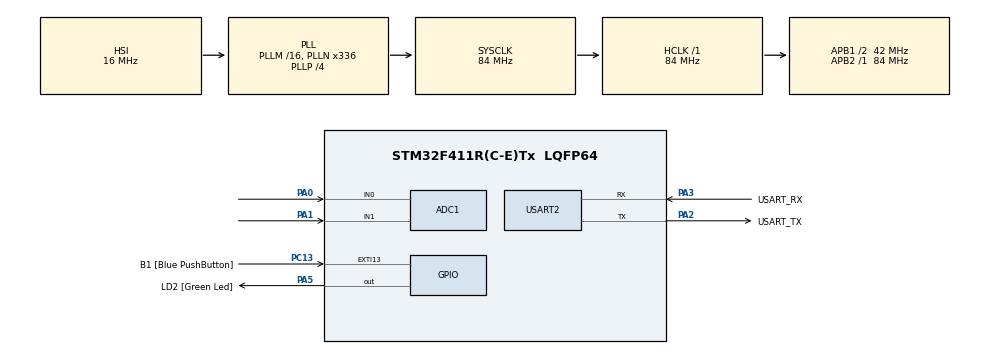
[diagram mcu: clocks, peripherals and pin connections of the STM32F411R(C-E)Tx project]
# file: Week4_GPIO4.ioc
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ADC1.Channel-0\#ChannelRegularConversion=ADC_CHANNEL_0
ADC1.Channel-1\#ChannelRegularConversion=ADC_CHANNEL_1
ADC1.Channel-2\#ChannelRegularConversion=ADC_CHANNEL_TEMPSENSOR
ADC1.Channel-3\#ChannelRegularConversion=ADC_CHANNEL_VREFINT
ADC1.ContinuousConvMode=ENABLE
ADC1.DMAContinuousRequests=ENABLE
ADC1.NbrOfConversion=4
ADC1.NbrOfConversionFlag=1
ADC1.Rank-0\#ChannelRegularConversion=1
ADC1.Rank-1\#ChannelRegularConversion=2
ADC1.Rank-2\#ChannelRegularConversion=3
ADC1.Rank-3\#ChannelRegularConversion=4
ADC1.SamplingTime-0\#ChannelRegularConversion=ADC_SAMPLETIME_480CYCLES
ADC1.SamplingTime-1\#ChannelRegularConversion=ADC_SAMPLETIME_480CYCLES
ADC1.SamplingTime-2\#ChannelRegularConversion=ADC_SAMPLETIME_3CYCLES
ADC1.SamplingTime-3\#ChannelRegularConversion=ADC_SAMPLETIME_3CYCLES
ADC1.ScanConvMode=ENABLE
ADC1.master=1
Dma.ADC1.0.Direction=DMA_PERIPH_TO_MEMORY
Dma.ADC1.0.FIFOMode=DMA_FIFOMODE_DISABLE
Dma.ADC1.0.Instance=DMA2_Stream0
Dma.ADC1.0.MemDataAlignment=DMA_MDATAALIGN_WORD
Dma.ADC1.0.MemInc=DMA_MINC_ENABLE
Dma.ADC1.0.Mode=DMA_CIRCULAR
Dma.ADC1.0.PeriphDataAlignment=DMA_PDATAALIGN_WORD
Dma.ADC1.0.PeriphInc=DMA_PINC_DISABLE
Dma.ADC1.0.Priority=DMA_PRIORITY_LOW
Dma.Request0=ADC1
Mcu.Family=STM32F4
Mcu.Name=STM32F411R(C-E)Tx
Mcu.Package=LQFP64
NVIC.DMA2_Stream0_IRQn=true\:0\:0\:false\:false\:true\:false\:true
NVIC.EXTI15_10_IRQn=true\:0\:0\:false\:false\:true\:true\:true
NVIC.PriorityGroup=NVIC_PRIORITYGROUP_0
PA0-WKUP.Signal=ADCx_IN0
PA1.Signal=ADCx_IN1
PA13.GPIO_Label=TMS
PA13.Mode=Serial_Wire
PA13.Signal=SYS_JTMS-SWDIO
PA14.GPIO_Label=TCK
PA14.Mode=Serial_Wire
PA14.Signal=SYS_JTCK-SWCLK
PA2.GPIO_Label=USART_TX
PA2.Mode=Asynchronous
PA2.Signal=USART2_TX
PA3.GPIO_Label=USART_RX
PA3.Mode=Asynchronous
PA3.Signal=USART2_RX
PA5.GPIO_Label=LD2 [Green Led]
PA5.Signal=GPIO_Output
PB3.GPIO_Label=SWO
PB3.Signal=SYS_JTDO-SWO
PC13-ANTI_TAMP.GPIO_Label=B1 [Blue PushButton]
PC13-ANTI_TAMP.GPIO_ModeDefaultEXTI=GPIO_MODE_IT_RISING_FALLING
PC13-ANTI_TAMP.GPIO_PuPd=GPIO_PULLUP
PC13-ANTI_TAMP.Signal=GPXTI13
PC14-OSC32_IN.Mode=LSE-External-Oscillator
PC14-OSC32_IN.Signal=RCC_OSC32_IN
PC15-OSC32_OUT.Mode=LSE-External-Oscillator
PC15-OSC32_OUT.Signal=RCC_OSC32_OUT
PH0\ -\ OSC_IN.Mode=HSE-External-Clock-Source
PH0\ -\ OSC_IN.Signal=RCC_OSC_IN
PH1\ -\ OSC_OUT.Mode=HSE-External-Clock-Source
PH1\ -\ OSC_OUT.Signal=RCC_OSC_OUT
ProjectManager.HeapSize=0x200
ProjectManager.StackSize=0x400
ProjectManager.TargetToolchain=STM32CubeIDE
RCC.48MHZClocksFreq_Value=84000000
RCC.AHBFreq_Value=84000000
RCC.APB1CLKDivider=RCC_HCLK_DIV2
RCC.APB1Freq_Value=42000000
RCC.APB1TimFreq_Value=84000000
RCC.APB2Freq_Value=84000000
RCC.APB2TimFreq_Value=84000000
RCC.CortexFreq_Value=84000000
RCC.FLatency-AdvancedSettings=FLASH_LATENCY_2
RCC.HCLKFreq_Value=84000000
RCC.HSE_VALUE=8000000
RCC.HSI_VALUE=16000000
RCC.PLLN=336
RCC.PLLP=RCC_PLLP_DIV4
RCC.SYSCLKFreq_VALUE=84000000
RCC.SYSCLKSource=RCC_SYSCLKSOURCE_PLLCLK
RCC.VCOOutputFreq_Value=336000000
SH.ADCx_IN0.0=ADC1_IN0,IN0
SH.ADCx_IN1.0=ADC1_IN1,IN1
USART2.VirtualMode=VM_ASYNC
VP_ADC1_TempSens_Input.Mode=IN-TempSens
VP_ADC1_Vref_Input.Mode=IN-Vrefint
board=NUCLEO-F411RE

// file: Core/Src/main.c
/* USER CODE BEGIN Header */
/**
  ******************************************************************************
  * @file           : main.c
  * @brief          : Main program body
  ******************************************************************************
  * @attention
  *
  * <h2><center>&copy; Copyright (c) 2021 STMicroelectronics.
  * All rights reserved.</center></h2>
  *
  * This software component is licensed by ST under BSD 3-Clause license,
  * the "License"; You may not use this file except in compliance with the
  * License. You may obtain a copy of the License at:
  *                        opensource.org/licenses/BSD-3-Clause
  *
  ******************************************************************************
  */
/* USER CODE END Header */
#include "main.h"

ADC_HandleTypeDef hadc1;
DMA_HandleTypeDef hdma_adc1;

UART_HandleTypeDef huart2;

/* USER CODE BEGIN PV */
uint32_t ADCData[4]={0};
uint32_t TimeStamp = 0;
uint32_t waitTime = 0;
uint32_t ButtonState[2] ={1,1};
uint32_t C0 = 0;
uint32_t C1 = 0;
uint32_t diffTime = 0;
/* USER CODE END PV */

void SystemClock_Config(void);
static void MX_GPIO_Init(void);
static void MX_DMA_Init(void);
static void MX_USART2_UART_Init(void);
static void MX_ADC1_Init(void);

int main(void)
{

  /* MCU Configuration--------------------------------------------------------*/

  /* Reset of all peripherals, Initializes the Flash interface and the Systick. */
  HAL_Init();

  /* Configure the system clock */
  SystemClock_Config();

  /* Initialize all configured peripherals */
  MX_GPIO_Init();
  MX_DMA_Init();
  MX_USART2_UART_Init();
  MX_ADC1_Init();
  /* USER CODE BEGIN 2 */
  HAL_ADC_Start_DMA(&hadc1,ADCData,4);
  /* USER CODE END 2 */

  /* Infinite loop */
  /* USER CODE BEGIN WHILE */
  while (1)
  {
		if(HAL_GetTick() - TimeStamp >= waitTime )
		{
			HAL_GPIO_WritePin(GPIOA, GPIO_PIN_5, GPIO_PIN_SET);
		}

    /* USER CODE END WHILE */

  }
}

void SystemClock_Config(void)
{
  RCC_OscInitTypeDef RCC_OscInitStruct = {0};
  RCC_ClkInitTypeDef RCC_ClkInitStruct = {0};

  /** Configure the main internal regulator output voltage
  */
  __HAL_RCC_PWR_CLK_ENABLE();
  __HAL_PWR_VOLTAGESCALING_CONFIG(PWR_REGULATOR_VOLTAGE_SCALE1);
  /** Initializes the RCC Oscillators according to the specified parameters
  * in the RCC_OscInitTypeDef structure.
  */
  RCC_OscInitStruct.OscillatorType = RCC_OSCILLATORTYPE_HSI;
  RCC_OscInitStruct.HSIState = RCC_HSI_ON;
  RCC_OscInitStruct.HSICalibrationValue = RCC_HSICALIBRATION_DEFAULT;
  RCC_OscInitStruct.PLL.PLLState = RCC_PLL_ON;
  RCC_OscInitStruct.PLL.PLLSource = RCC_PLLSOURCE_HSI;
  RCC_OscInitStruct.PLL.PLLM = 16;
  RCC_OscInitStruct.PLL.PLLN = 336;
  RCC_OscInitStruct.PLL.PLLP = RCC_PLLP_DIV4;
  RCC_OscInitStruct.PLL.PLLQ = 4;
  if (HAL_RCC_OscConfig(&RCC_OscInitStruct) != HAL_OK)
  {
    Error_Handler();
  }
  /** Initializes the CPU, AHB and APB buses clocks
  */
  RCC_ClkInitStruct.ClockType = RCC_CLOCKTYPE_HCLK|RCC_CLOCKTYPE_SYSCLK
                              |RCC_CLOCKTYPE_PCLK1|RCC_CLOCKTYPE_PCLK2;
  RCC_ClkInitStruct.SYSCLKSource = RCC_SYSCLKSOURCE_PLLCLK;
  RCC_ClkInitStruct.AHBCLKDivider = RCC_SYSCLK_DIV1;
  RCC_ClkInitStruct.APB1CLKDivider = RCC_HCLK_DIV2;
  RCC_ClkInitStruct.APB2CLKDivider = RCC_HCLK_DIV1;

  if (HAL_RCC_ClockConfig(&RCC_ClkInitStruct, FLASH_LATENCY_2) != HAL_OK)
  {
    Error_Handler();
  }
}

static void MX_ADC1_Init(void)
{

  ADC_ChannelConfTypeDef sConfig = {0};

  /** Configure the global features of the ADC (Clock, Resolution, Data Alignment and number of conversion)
  */
  hadc1.Instance = ADC1;
  hadc1.Init.ClockPrescaler = ADC_CLOCK_SYNC_PCLK_DIV4;
  hadc1.Init.Resolution = ADC_RESOLUTION_12B;
  hadc1.Init.ScanConvMode = ENABLE;
  hadc1.Init.ContinuousConvMode = ENABLE;
  hadc1.Init.DiscontinuousConvMode = DISABLE;
  hadc1.Init.ExternalTrigConvEdge = ADC_EXTERNALTRIGCONVEDGE_NONE;
  hadc1.Init.ExternalTrigConv = ADC_SOFTWARE_START;
  hadc1.Init.DataAlign = ADC_DATAALIGN_RIGHT;
  hadc1.Init.NbrOfConversion = 4;
  hadc1.Init.DMAContinuousRequests = ENABLE;
  hadc1.Init.EOCSelection = ADC_EOC_SINGLE_CONV;
  if (HAL_ADC_Init(&hadc1) != HAL_OK)
  {
    Error_Handler();
  }
  /** Configure for the selected ADC regular channel its corresponding rank in the sequencer and its sample time.
  */
  sConfig.Channel = ADC_CHANNEL_0;
  sConfig.Rank = 1;
  sConfig.SamplingTime = ADC_SAMPLETIME_480CYCLES;
  if (HAL_ADC_ConfigChannel(&hadc1, &sConfig) != HAL_OK)
  {
    Error_Handler();
  }
  /** Configure for the selected ADC regular channel its corresponding rank in the sequencer and its sample time.
  */
  sConfig.Channel = ADC_CHANNEL_1;
  sConfig.Rank = 2;
  if (HAL_ADC_ConfigChannel(&hadc1, &sConfig) != HAL_OK)
  {
    Error_Handler();
  }
  /** Configure for the selected ADC regular channel its corresponding rank in the sequencer and its sample time.
  */
  sConfig.Channel = ADC_CHANNEL_TEMPSENSOR;
  sConfig.Rank = 3;
  sConfig.SamplingTime = ADC_SAMPLETIME_3CYCLES;
  if (HAL_ADC_ConfigChannel(&hadc1, &sConfig) != HAL_OK)
  {
    Error_Handler();
  }
  /** Configure for the selected ADC regular channel its corresponding rank in the sequencer and its sample time.
  */
  sConfig.Channel = ADC_CHANNEL_VREFINT;
  sConfig.Rank = 4;
  if (HAL_ADC_ConfigChannel(&hadc1, &sConfig) != HAL_OK)
  {
    Error_Handler();
  }

}

static void MX_USART2_UART_Init(void)
{

  huart2.Instance = USART2;
  huart2.Init.BaudRate = 115200;
  huart2.Init.WordLength = UART_WORDLENGTH_8B;
  huart2.Init.StopBits = UART_STOPBITS_1;
  huart2.Init.Parity = UART_PARITY_NONE;
  huart2.Init.Mode = UART_MODE_TX_RX;
  huart2.Init.HwFlowCtl = UART_HWCONTROL_NONE;
  huart2.Init.OverSampling = UART_OVERSAMPLING_16;
  if (HAL_UART_Init(&huart2) != HAL_OK)
  {
    Error_Handler();
  }

}

static void MX_DMA_Init(void)
{

  /* DMA controller clock enable */
  __HAL_RCC_DMA2_CLK_ENABLE();

  /* DMA interrupt init */
  /* DMA2_Stream0_IRQn interrupt configuration */
  HAL_NVIC_SetPriority(DMA2_Stream0_IRQn, 0, 0);
  HAL_NVIC_EnableIRQ(DMA2_Stream0_IRQn);

}

static void MX_GPIO_Init(void)
{
  GPIO_InitTypeDef GPIO_InitStruct = {0};

  /* GPIO Ports Clock Enable */
  __HAL_RCC_GPIOC_CLK_ENABLE();
  __HAL_RCC_GPIOH_CLK_ENABLE();
  __HAL_RCC_GPIOA_CLK_ENABLE();
  __HAL_RCC_GPIOB_CLK_ENABLE();

  /*Configure GPIO pin Output Level */
  HAL_GPIO_WritePin(LD2_GPIO_Port, LD2_Pin, GPIO_PIN_SET);

  /*Configure GPIO pin : B1_Pin */
  GPIO_InitStruct.Pin = B1_Pin;
  GPIO_InitStruct.Mode = GPIO_MODE_IT_RISING_FALLING;
  GPIO_InitStruct.Pull = GPIO_PULLUP;
  HAL_GPIO_Init(B1_GPIO_Port, &GPIO_InitStruct);

  /*Configure GPIO pin : LD2_Pin */
  GPIO_InitStruct.Pin = LD2_Pin;
  GPIO_InitStruct.Mode = GPIO_MODE_OUTPUT_PP;
  GPIO_InitStruct.Pull = GPIO_NOPULL;
  GPIO_InitStruct.Speed = GPIO_SPEED_FREQ_LOW;
  HAL_GPIO_Init(LD2_GPIO_Port, &GPIO_InitStruct);

  /* EXTI interrupt init*/
  HAL_NVIC_SetPriority(EXTI15_10_IRQn, 0, 0);
  HAL_NVIC_EnableIRQ(EXTI15_10_IRQn);

}

/* USER CODE BEGIN 4 */

void HAL_GPIO_EXTI_Callback(uint16_t GPIO_Pin)
{
	ButtonState[0]=HAL_GPIO_ReadPin(GPIOC, GPIO_PIN_13);
	if(GPIO_Pin == GPIO_PIN_13)
	{
		if(ButtonState[1]==1&&ButtonState[0]==0)
		{
			C0 = ADCData[0];
			C1 = ADCData[1];
			waitTime = 1000 + ((22695477*C0)+C1)%10000;
			HAL_GPIO_WritePin(GPIOA, GPIO_PIN_5, GPIO_PIN_RESET);
			TimeStamp = HAL_GetTick();
		}
		else if(ButtonState[1]==0 && ButtonState[0]==1)
		{
			HAL_GPIO_WritePin(GPIOA, GPIO_PIN_5, GPIO_PIN_SET);
			diffTime = 999999999;
		}
	}
	if(HAL_GetTick() - TimeStamp >= waitTime)
	{
			diffTime = HAL_GetTick() - TimeStamp - waitTime;

	}
	ButtonState[1]=ButtonState[0];
}

/* USER CODE END 4 */

void Error_Handler(void)
{
  __disable_irq();
  while (1)
  {
  }
}

/************************ (C) COPYRIGHT STMicroelectronics *****END OF FILE****/
